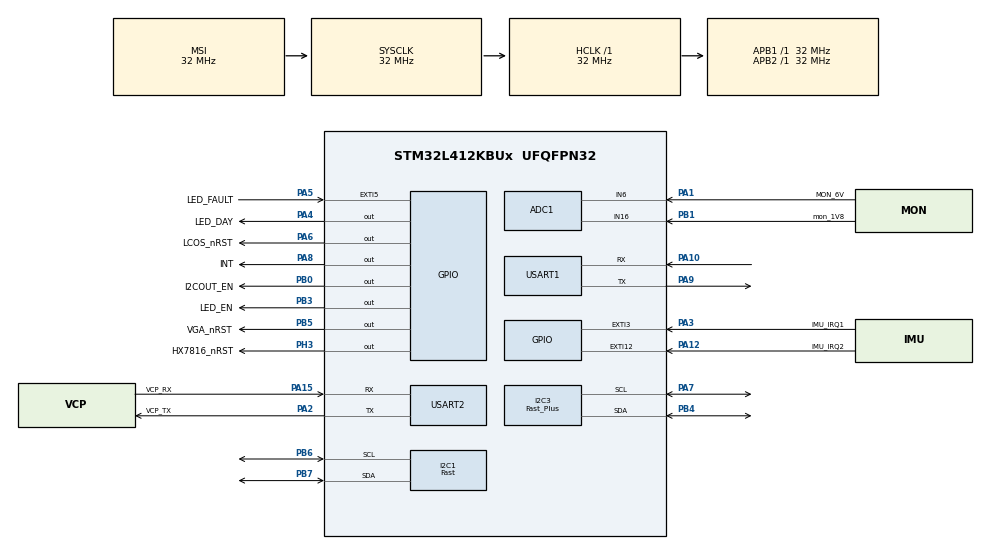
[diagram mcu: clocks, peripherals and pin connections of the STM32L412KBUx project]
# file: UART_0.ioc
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ADC1.AWD1HighThreshold=4000
ADC1.AWD1ITMode=ENABLE
ADC1.AWD1LowThreshold=10
ADC1.Channel-0\#ChannelRegularConversion=ADC_CHANNEL_6
ADC1.Channel-1\#ChannelRegularConversion=ADC_CHANNEL_16
ADC1.Channel-2\#ChannelRegularConversion=ADC_CHANNEL_VREFINT
ADC1.Channel-3\#ChannelRegularConversion=ADC_CHANNEL_TEMPSENSOR
ADC1.ClockPrescaler=ADC_CLOCK_ASYNC_DIV16
ADC1.ContinuousConvMode=ENABLE
ADC1.DMAContinuousRequests=ENABLE
ADC1.EOCSelection=ADC_EOC_SEQ_CONV
ADC1.EnableAnalogWatchDog1=true
ADC1.EnableRegularConversion=ENABLE
ADC1.NbrOfConversion=4
ADC1.NbrOfConversionFlag=1
ADC1.OffsetNumber-0\#ChannelRegularConversion=ADC_OFFSET_NONE
ADC1.OffsetNumber-1\#ChannelRegularConversion=ADC_OFFSET_NONE
ADC1.OffsetNumber-2\#ChannelRegularConversion=ADC_OFFSET_NONE
ADC1.OffsetNumber-3\#ChannelRegularConversion=ADC_OFFSET_NONE
ADC1.Rank-0\#ChannelRegularConversion=1
ADC1.Rank-1\#ChannelRegularConversion=2
ADC1.Rank-2\#ChannelRegularConversion=3
ADC1.Rank-3\#ChannelRegularConversion=4
ADC1.SamplingTime-0\#ChannelRegularConversion=ADC_SAMPLETIME_640CYCLES_5
ADC1.SamplingTime-1\#ChannelRegularConversion=ADC_SAMPLETIME_640CYCLES_5
ADC1.SamplingTime-2\#ChannelRegularConversion=ADC_SAMPLETIME_640CYCLES_5
ADC1.SamplingTime-3\#ChannelRegularConversion=ADC_SAMPLETIME_640CYCLES_5
ADC1.WatchdogChannel=ADC_CHANNEL_TEMPSENSOR
ADC1.master=1
Dma.ADC1.0.Direction=DMA_PERIPH_TO_MEMORY
Dma.ADC1.0.Instance=DMA1_Channel1
Dma.ADC1.0.MemDataAlignment=DMA_MDATAALIGN_HALFWORD
Dma.ADC1.0.MemInc=DMA_MINC_ENABLE
Dma.ADC1.0.Mode=DMA_CIRCULAR
Dma.ADC1.0.PeriphDataAlignment=DMA_PDATAALIGN_HALFWORD
Dma.ADC1.0.PeriphInc=DMA_PINC_DISABLE
Dma.ADC1.0.Priority=DMA_PRIORITY_LOW
Dma.Request0=ADC1
I2C1.I2C_Speed_Mode=I2C_Fast
I2C1.Timing=0x00300F38
I2C3.I2C_Speed_Mode=I2C_Fast_Plus
I2C3.Timing=0x00100413
LPTIM1.ClockPrescaler=LPTIM_PRESCALER_DIV32
Mcu.Family=STM32L4
Mcu.Name=STM32L412KBUx
Mcu.Package=UFQFPN32
NVIC.ADC1_2_IRQn=true\:0\:0\:false\:false\:true\:true\:true
NVIC.DMA1_Channel1_IRQn=true\:0\:0\:false\:false\:true\:false\:true
NVIC.EXTI15_10_IRQn=true\:0\:0\:false\:false\:true\:true\:true
NVIC.EXTI3_IRQn=true\:0\:0\:false\:false\:true\:true\:true
NVIC.I2C1_EV_IRQn=true\:0\:0\:false\:false\:true\:true\:true
NVIC.I2C3_ER_IRQn=true\:0\:0\:false\:false\:true\:true\:true
NVIC.I2C3_EV_IRQn=true\:0\:0\:false\:false\:true\:true\:true
NVIC.LPTIM1_IRQn=true\:0\:0\:false\:false\:true\:true\:true
NVIC.PriorityGroup=NVIC_PRIORITYGROUP_4
NVIC.USART1_IRQn=true\:0\:0\:false\:false\:true\:true\:true
PA0-CK_IN.Mode=HSE-External-Clock-Source-for-LittleOrca
PA0-CK_IN.Signal=RCC_CK_IN
PA1.GPIO_Label=MON_6V
PA1.Signal=ADCx_IN6
PA10.Mode=Asynchronous
PA10.Signal=USART1_RX
PA12.GPIO_Label=IMU_IRQ2
PA12.GPIO_PuPd=GPIO_PULLUP
PA12.Signal=GPXTI12
PA13\ (JTMS/SWDIO).GPIO_Label=SWDIO
PA13\ (JTMS/SWDIO).Mode=Serial_Wire
PA13\ (JTMS/SWDIO).Signal=SYS_JTMS-SWDIO
PA14\ (JTCK/SWCLK).GPIO_Label=SWCLK
PA14\ (JTCK/SWCLK).Mode=Serial_Wire
PA14\ (JTCK/SWCLK).Signal=SYS_JTCK-SWCLK
PA15\ (JTDI).GPIO_Label=VCP_RX
PA15\ (JTDI).Mode=Asynchronous
PA15\ (JTDI).Signal=USART2_RX
PA2.GPIO_Label=VCP_TX
PA2.Mode=Asynchronous
PA2.Signal=USART2_TX
PA3.GPIO_Label=IMU_IRQ1
PA3.GPIO_PuPd=GPIO_PULLDOWN
PA3.Signal=GPXTI3
PA4.GPIO_Label=LED_DAY
PA4.Signal=GPIO_Output
PA5.GPIO_Label=LED_FAULT
PA5.GPIO_ModeDefaultEXTI=GPIO_MODE_IT_RISING
PA5.GPIO_PuPd=GPIO_PULLDOWN
PA5.Signal=GPXTI5
PA6.GPIO_Label=LCOS_nRST
PA6.Signal=GPIO_Output
PA7.Mode=I2C
PA7.Signal=I2C3_SCL
PA8.GPIO_Label=INT
PA8.Signal=GPIO_Output
PA9.Mode=Asynchronous
PA9.Signal=USART1_TX
PB0.GPIO_Label=I2COUT_EN
PB0.Signal=GPIO_Output
PB1.GPIO_Label=mon_1V8
PB1.Signal=ADCx_IN16
PB3\ (JTDO/TRACESWO).GPIO_Label=LED_EN
PB3\ (JTDO/TRACESWO).Signal=GPIO_Output
PB4\ (NJTRST).Mode=I2C
PB4\ (NJTRST).Signal=I2C3_SDA
PB5.GPIO_Label=VGA_nRST
PB5.Signal=GPIO_Output
PB6.Mode=I2C
PB6.Signal=I2C1_SCL
PB7.Mode=I2C
PB7.Signal=I2C1_SDA
PC14-OSC32_IN\ (PC14).Mode=LSE-External-Oscillator
PC14-OSC32_IN\ (PC14).Signal=RCC_OSC32_IN
PC15-OSC32_OUT\ (PC15).Mode=LSE-External-Oscillator
PC15-OSC32_OUT\ (PC15).Signal=RCC_OSC32_OUT
PH3-BOOT0\ (BOOT0).GPIO_Label=HX7816_nRST
PH3-BOOT0\ (BOOT0).Signal=GPIO_Output
ProjectManager.HeapSize=0x200
ProjectManager.StackSize=0x400
ProjectManager.TargetToolchain=STM32CubeIDE
RCC.ADCFreq_Value=32000000
RCC.AHBFreq_Value=32000000
RCC.APB1Freq_Value=32000000
RCC.APB1TimFreq_Value=32000000
RCC.APB2Freq_Value=32000000
RCC.APB2TimFreq_Value=32000000
RCC.CortexFreq_Value=32000000
RCC.FLatency=FLASH_LATENCY_1
RCC.HCLKFreq_Value=32000000
RCC.HSE_VALUE=8000000
RCC.HSI48_VALUE=48000000
RCC.HSICalibrationValue=16
RCC.HSI_VALUE=16000000
RCC.LPTIM1CLockSelection=RCC_LPTIM1CLKSOURCE_LSI
RCC.LSE_Drive_Capability=RCC_LSEDRIVE_LOW
RCC.MSIClockRange=RCC_MSIRANGE_10
RCC.MSI_VALUE=32000000
RCC.SYSCLKFreq_VALUE=32000000
RCC.USBFreq_Value=32000000
RCC.VCOOutputFreq_Value=256000000
SH.ADCx_IN16.0=ADC1_IN16,IN16-Single-Ended
SH.ADCx_IN6.0=ADC1_IN6,IN6-Single-Ended
USART1.VirtualMode-Asynchronous=VM_ASYNC
USART2.VirtualMode-Asynchronous=VM_ASYNC
VP_ADC1_TempSens_Input.Mode=IN-TempSens
VP_ADC1_Vref_Input.Mode=IN-Vrefint
VP_LPTIM1_VS_LPTIM_counterModeInternalClock.Mode=Counts__internal_clock_event_00
board=NUCLEO-L412KB

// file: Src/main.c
/* USER CODE BEGIN Header */
/**
  ******************************************************************************
  * @file           : main.c
  * @brief          : Main program body
  ******************************************************************************
  * @attention
  *
  * <h2><center>&copy; Copyright (c) 2020 STMicroelectronics.
  * All rights reserved.</center></h2>
  *
  * This software component is licensed by ST under BSD 3-Clause license,
  * the "License"; You may not use this file except in compliance with the
  * License. You may obtain a copy of the License at:
  *                        opensource.org/licenses/BSD-3-Clause
  *
  ******************************************************************************
  */
/* USER CODE END Header */

#include "main.h"

/* USER CODE BEGIN Includes */
//#include "usart.h"
#include <string.h>

/* USER CODE END Includes */

ADC_HandleTypeDef hadc1;
DMA_HandleTypeDef hdma_adc1;

I2C_HandleTypeDef hi2c1;
I2C_HandleTypeDef hi2c3;

LPTIM_HandleTypeDef hlptim1;

UART_HandleTypeDef huart1;
UART_HandleTypeDef huart2;

/* USER CODE BEGIN PV */
uint32_t debug_cntr = 0;

const version_t sw_revision = {1,0,2,3};

uint8_t FlashCopyDevInfo[FLASH_DEVICE_INFO_SIZE];
uint8_t FlashCopyConfigStruct[FLASH_CONFIG_SIZE];
uint8_t FlashCopyBrightnessTab0[FLASH_BRIGHTNESS_TAB_SIZE];
uint8_t FlashCopyBrightnessTab1[FLASH_BRIGHTNESS_TAB_SIZE];
uint8_t FlashCopyInitData[FLASH_INIT_DATA_SIZE];

config_t* pConfigStruct;
uint8_t sw_error = HAL_OK;
uint8_t LPTIM1_us_countEn;
BIT_status_t boot_BIT_status = {0};    // boot error status
irq_flg_t  irq_flg = {0};
main_status_t main_status = {0};
power_state_t CurrentPowerMode = PWR_OFF;
power_state_t NextPowerMode;

// ADC variables
uint32_t TemperatureHighThreshold;
uint32_t TemperatureLowThreshold;
uint16_t adc_raw_data[ADC_CONV_NUM];
uint16_t VDDA_mv;
uint16_t mon_6V_mv;
uint16_t mon_1V8_mv;

device_state_t	vga2rgb_state = {0};

extern uart_msg_t uart_msg;
extern uint8_t RdByteReady;
extern led_drv_state_t led_drv_state;
extern uint16_t asic_BasePos_Hor;
extern uint16_t asic_BasePos_Ver;
extern device_state_t lcos_state;
extern device_state_t asic_state;
extern device_state_t	imu_state;
extern uint8_t imu_data[IMU_DATA_LEN];

/* USER CODE END PV */

void SystemClock_Config(void);
static void MX_GPIO_Init(void);
static void MX_DMA_Init(void);
static void MX_USART1_UART_Init(void);
static void MX_USART2_UART_Init(void);
static void MX_I2C1_Init(void);
static void MX_I2C3_Init(void);
static void MX_LPTIM1_Init(void);
static void MX_ADC1_Init(void);
/* USER CODE BEGIN PFP */
//void runScript(uint8_t* BaseAddr, uint16_t recordNum);
static void init_periferial(uint8_t boot);
static void SetPowerMode(uint8_t NewPowerMode);
static void ADC_start(void);
/* USER CODE END PFP */

int main(void)
{

  /* MCU Configuration--------------------------------------------------------*/

  /* Reset of all peripherals, Initializes the Flash interface and the Systick. */
  HAL_Init();

  /* USER CODE BEGIN Init */
  memcpy(FlashCopyDevInfo,(uint8_t*)FLASH_DEVICE_INFO_BASE_ADDR,sizeof(FlashCopyDevInfo));
  memcpy(FlashCopyConfigStruct,(uint8_t*)FLASH_CONFIG_BASE_ADDR,sizeof(FlashCopyConfigStruct));
  memcpy(FlashCopyBrightnessTab0,(uint8_t*)FLASH_BRIGHTNESS_0_BASE_ADDR,sizeof(FlashCopyBrightnessTab0));
  memcpy(FlashCopyBrightnessTab1,(uint8_t*)FLASH_BRIGHTNESS_1_BASE_ADDR,sizeof(FlashCopyBrightnessTab1));
  memcpy(FlashCopyInitData,(uint8_t*)FLASH_INIT_BASE_ADDR,sizeof(FlashCopyInitData));
  pConfigStruct = (config_t*)FlashCopyConfigStruct;
  *(unsigned*)&uart_msg.flag = 0;
  uart_msg.response[0] = 'H';
  uart_msg.response[1] = 'U';
  uart_msg.response[2] = 'M';

  /* USER CODE END Init */

  /* Configure the system clock */
  SystemClock_Config();

  /* Initialize all configured peripherals */
  MX_GPIO_Init();
  MX_DMA_Init();
  MX_USART1_UART_Init();
  MX_USART2_UART_Init();
  MX_I2C1_Init();
  MX_I2C3_Init();
  MX_LPTIM1_Init();
  MX_ADC1_Init();
  /* USER CODE BEGIN 2 */
  SetPowerMode(PWR_OFF);
  SetPowerMode(PWR_ON);
  /* USER CODE END 2 */

  /* Infinite loop */
  /* USER CODE BEGIN WHILE */
  while (1)
  {
#ifdef LPM_EN
	  /*Suspend Tick increment to prevent wakeup by Systick interrupt.
		Otherwise the Systick interrupt will wake up the device within 1ms (HAL time base)*/
	  HAL_SuspendTick();

		/* Enter Sleep Mode , wake up is done once jumper is put between PA.12 (Arduino D2) and GND */
	  HAL_PWR_EnterSLEEPMode(PWR_MAINREGULATOR_ON, PWR_SLEEPENTRY_WFI);

		/* Resume Tick interrupt if disabled prior to SLEEP mode entry */
	  HAL_ResumeTick();
#endif

	  if(RdByteReady){
		  RdByteReady = 0;
		  UART_Rx_Byte();		//receive 1 byte by UART
	  }
	  if(uart_msg.flag.uart_req_ready_flg){
		  uart_msg.flag.uart_req_ready_flg = 0;
		  uartReqHandler();
	  }
	  if(*(uint32_t*)&irq_flg){
		  HAL_GPIO_WritePin(INT_GPIO_Port, INT_Pin, GPIO_PIN_SET);
	  }

	  if (main_status.led_drv_fault){

	  }
	  if(main_status.pwrModeChange_req){
		  main_status.pwrModeChange_req = 0;
		  SetPowerMode(NextPowerMode);
	  }
	  if( main_status.ADC_dataReady == 1){
		  ADC_Calc();
		  main_status.ADC_dataReady = 0;
		  if(debug_cntr++>1000){
			  printf("mon_1V8_mv = %d\n\r ",mon_1V8_mv);
			  debug_cntr = 0;
		  }
	  }
  }
    /* USER CODE END WHILE */

}

void SystemClock_Config(void)
{
  RCC_OscInitTypeDef RCC_OscInitStruct = {0};
  RCC_ClkInitTypeDef RCC_ClkInitStruct = {0};
  RCC_PeriphCLKInitTypeDef PeriphClkInit = {0};

  /** Configure LSE Drive Capability
  */
  HAL_PWR_EnableBkUpAccess();
  __HAL_RCC_LSEDRIVE_CONFIG(RCC_LSEDRIVE_LOW);
  /** Configure the main internal regulator output voltage
  */
  if (HAL_PWREx_ControlVoltageScaling(PWR_REGULATOR_VOLTAGE_SCALE1) != HAL_OK)
  {
    Error_Handler();
  }
  /** Initializes the CPU, AHB and APB busses clocks
  */
  RCC_OscInitStruct.OscillatorType = RCC_OSCILLATORTYPE_LSI|RCC_OSCILLATORTYPE_LSE
                              |RCC_OSCILLATORTYPE_MSI;
  RCC_OscInitStruct.LSEState = RCC_LSE_ON;
  RCC_OscInitStruct.LSIState = RCC_LSI_ON;
  RCC_OscInitStruct.MSIState = RCC_MSI_ON;
  RCC_OscInitStruct.MSICalibrationValue = 0;
  RCC_OscInitStruct.MSIClockRange = RCC_MSIRANGE_10;
  RCC_OscInitStruct.PLL.PLLState = RCC_PLL_NONE;
  if (HAL_RCC_OscConfig(&RCC_OscInitStruct) != HAL_OK)
  {
    Error_Handler();
  }
  /** Initializes the CPU, AHB and APB busses clocks
  */
  RCC_ClkInitStruct.ClockType = RCC_CLOCKTYPE_HCLK|RCC_CLOCKTYPE_SYSCLK
                              |RCC_CLOCKTYPE_PCLK1|RCC_CLOCKTYPE_PCLK2;
  RCC_ClkInitStruct.SYSCLKSource = RCC_SYSCLKSOURCE_MSI;
  RCC_ClkInitStruct.AHBCLKDivider = RCC_SYSCLK_DIV1;
  RCC_ClkInitStruct.APB1CLKDivider = RCC_HCLK_DIV1;
  RCC_ClkInitStruct.APB2CLKDivider = RCC_HCLK_DIV1;

  if (HAL_RCC_ClockConfig(&RCC_ClkInitStruct, FLASH_LATENCY_1) != HAL_OK)
  {
    Error_Handler();
  }
  PeriphClkInit.PeriphClockSelection = RCC_PERIPHCLK_USART1|RCC_PERIPHCLK_USART2
                              |RCC_PERIPHCLK_LPTIM1|RCC_PERIPHCLK_I2C1
                              |RCC_PERIPHCLK_I2C3|RCC_PERIPHCLK_ADC;
  PeriphClkInit.Usart1ClockSelection = RCC_USART1CLKSOURCE_PCLK2;
  PeriphClkInit.Usart2ClockSelection = RCC_USART2CLKSOURCE_PCLK1;
  PeriphClkInit.I2c1ClockSelection = RCC_I2C1CLKSOURCE_PCLK1;
  PeriphClkInit.I2c3ClockSelection = RCC_I2C3CLKSOURCE_PCLK1;
  PeriphClkInit.Lptim1ClockSelection = RCC_LPTIM1CLKSOURCE_LSI;
  if (HAL_RCCEx_PeriphCLKConfig(&PeriphClkInit) != HAL_OK)
  {
    Error_Handler();
  }
  /** Enable MSI Auto calibration
  */
  HAL_RCCEx_EnableMSIPLLMode();
}

static void MX_ADC1_Init(void)
{

  ADC_MultiModeTypeDef multimode = {0};
  ADC_AnalogWDGConfTypeDef AnalogWDGConfig = {0};
  ADC_ChannelConfTypeDef sConfig = {0};

  /** Common config
  */
  hadc1.Instance = ADC1;
  hadc1.Init.ClockPrescaler = ADC_CLOCK_ASYNC_DIV16;
  hadc1.Init.Resolution = ADC_RESOLUTION_12B;
  hadc1.Init.DataAlign = ADC_DATAALIGN_RIGHT;
  hadc1.Init.ScanConvMode = ADC_SCAN_ENABLE;
  hadc1.Init.EOCSelection = ADC_EOC_SEQ_CONV;
  hadc1.Init.LowPowerAutoWait = DISABLE;
  hadc1.Init.ContinuousConvMode = ENABLE;
  hadc1.Init.NbrOfConversion = 4;
  hadc1.Init.DiscontinuousConvMode = DISABLE;
  hadc1.Init.NbrOfDiscConversion = 1;
  hadc1.Init.ExternalTrigConv = ADC_SOFTWARE_START;
  hadc1.Init.ExternalTrigConvEdge = ADC_EXTERNALTRIGCONVEDGE_NONE;
  hadc1.Init.DMAContinuousRequests = ENABLE;
  hadc1.Init.Overrun = ADC_OVR_DATA_PRESERVED;
  hadc1.Init.OversamplingMode = DISABLE;
  if (HAL_ADC_Init(&hadc1) != HAL_OK)
  {
    Error_Handler();
  }
  /** Configure the ADC multi-mode
  */
  multimode.Mode = ADC_MODE_INDEPENDENT;
  if (HAL_ADCEx_MultiModeConfigChannel(&hadc1, &multimode) != HAL_OK)
  {
    Error_Handler();
  }
  /** Configure Analog WatchDog 1
  */
  AnalogWDGConfig.WatchdogNumber = ADC_ANALOGWATCHDOG_1;
  AnalogWDGConfig.WatchdogMode = ADC_ANALOGWATCHDOG_SINGLE_REG;
  AnalogWDGConfig.Channel = ADC_CHANNEL_TEMPSENSOR;
  AnalogWDGConfig.ITMode = ENABLE;
  AnalogWDGConfig.HighThreshold = 4000;
  AnalogWDGConfig.LowThreshold = 10;
  if (HAL_ADC_AnalogWDGConfig(&hadc1, &AnalogWDGConfig) != HAL_OK)
  {
    Error_Handler();
  }
  /** Configure Regular Channel
  */
  sConfig.Channel = ADC_CHANNEL_6;
  sConfig.Rank = ADC_REGULAR_RANK_1;
  sConfig.SamplingTime = ADC_SAMPLETIME_640CYCLES_5;
  sConfig.SingleDiff = ADC_SINGLE_ENDED;
  sConfig.OffsetNumber = ADC_OFFSET_NONE;
  sConfig.Offset = 0;
  if (HAL_ADC_ConfigChannel(&hadc1, &sConfig) != HAL_OK)
  {
    Error_Handler();
  }
  /** Configure Regular Channel
  */
  sConfig.Channel = ADC_CHANNEL_16;
  sConfig.Rank = ADC_REGULAR_RANK_2;
  if (HAL_ADC_ConfigChannel(&hadc1, &sConfig) != HAL_OK)
  {
    Error_Handler();
  }
  /** Configure Regular Channel
  */
  sConfig.Channel = ADC_CHANNEL_VREFINT;
  sConfig.Rank = ADC_REGULAR_RANK_3;
  if (HAL_ADC_ConfigChannel(&hadc1, &sConfig) != HAL_OK)
  {
    Error_Handler();
  }
  /** Configure Regular Channel
  */
  sConfig.Channel = ADC_CHANNEL_TEMPSENSOR;
  sConfig.Rank = ADC_REGULAR_RANK_4;
  if (HAL_ADC_ConfigChannel(&hadc1, &sConfig) != HAL_OK)
  {
    Error_Handler();
  }

}

static void MX_I2C1_Init(void)
{

  hi2c1.Instance = I2C1;
  hi2c1.Init.Timing = 0x00300F38;
  hi2c1.Init.OwnAddress1 = 0;
  hi2c1.Init.AddressingMode = I2C_ADDRESSINGMODE_7BIT;
  hi2c1.Init.DualAddressMode = I2C_DUALADDRESS_DISABLE;
  hi2c1.Init.OwnAddress2 = 0;
  hi2c1.Init.OwnAddress2Masks = I2C_OA2_NOMASK;
  hi2c1.Init.GeneralCallMode = I2C_GENERALCALL_DISABLE;
  hi2c1.Init.NoStretchMode = I2C_NOSTRETCH_DISABLE;
  if (HAL_I2C_Init(&hi2c1) != HAL_OK)
  {
    Error_Handler();
  }
  /** Configure Analogue filter
  */
  if (HAL_I2CEx_ConfigAnalogFilter(&hi2c1, I2C_ANALOGFILTER_ENABLE) != HAL_OK)
  {
    Error_Handler();
  }
  /** Configure Digital filter
  */
  if (HAL_I2CEx_ConfigDigitalFilter(&hi2c1, 0) != HAL_OK)
  {
    Error_Handler();
  }

}

static void MX_I2C3_Init(void)
{

  hi2c3.Instance = I2C3;
  hi2c3.Init.Timing = 0x00100413;
  hi2c3.Init.OwnAddress1 = 0;
  hi2c3.Init.AddressingMode = I2C_ADDRESSINGMODE_7BIT;
  hi2c3.Init.DualAddressMode = I2C_DUALADDRESS_DISABLE;
  hi2c3.Init.OwnAddress2 = 0;
  hi2c3.Init.OwnAddress2Masks = I2C_OA2_NOMASK;
  hi2c3.Init.GeneralCallMode = I2C_GENERALCALL_DISABLE;
  hi2c3.Init.NoStretchMode = I2C_NOSTRETCH_DISABLE;
  if (HAL_I2C_Init(&hi2c3) != HAL_OK)
  {
    Error_Handler();
  }
  /** Configure Analogue filter
  */
  if (HAL_I2CEx_ConfigAnalogFilter(&hi2c3, I2C_ANALOGFILTER_ENABLE) != HAL_OK)
  {
    Error_Handler();
  }
  /** Configure Digital filter
  */
  if (HAL_I2CEx_ConfigDigitalFilter(&hi2c3, 0) != HAL_OK)
  {
    Error_Handler();
  }
  /** I2C Fast mode Plus enable
  */
  HAL_I2CEx_EnableFastModePlus(I2C_FASTMODEPLUS_I2C3);

}

static void MX_LPTIM1_Init(void)
{

  hlptim1.Instance = LPTIM1;
  hlptim1.Init.Clock.Source = LPTIM_CLOCKSOURCE_APBCLOCK_LPOSC;
  hlptim1.Init.Clock.Prescaler = LPTIM_PRESCALER_DIV32;
  hlptim1.Init.Trigger.Source = LPTIM_TRIGSOURCE_SOFTWARE;
  hlptim1.Init.OutputPolarity = LPTIM_OUTPUTPOLARITY_HIGH;
  hlptim1.Init.UpdateMode = LPTIM_UPDATE_IMMEDIATE;
  hlptim1.Init.CounterSource = LPTIM_COUNTERSOURCE_INTERNAL;
  hlptim1.Init.Input1Source = LPTIM_INPUT1SOURCE_GPIO;
  hlptim1.Init.Input2Source = LPTIM_INPUT2SOURCE_GPIO;
  hlptim1.Init.RepetitionCounter = 0;
  if (HAL_LPTIM_Init(&hlptim1) != HAL_OK)
  {
    Error_Handler();
  }

}

static void MX_USART1_UART_Init(void)
{

  huart1.Instance = USART1;
  huart1.Init.BaudRate = 115200;
  huart1.Init.WordLength = UART_WORDLENGTH_8B;
  huart1.Init.StopBits = UART_STOPBITS_1;
  huart1.Init.Parity = UART_PARITY_NONE;
  huart1.Init.Mode = UART_MODE_TX_RX;
  huart1.Init.HwFlowCtl = UART_HWCONTROL_NONE;
  huart1.Init.OverSampling = UART_OVERSAMPLING_16;
  huart1.Init.OneBitSampling = UART_ONE_BIT_SAMPLE_DISABLE;
  huart1.AdvancedInit.AdvFeatureInit = UART_ADVFEATURE_NO_INIT;
  if (HAL_UART_Init(&huart1) != HAL_OK)
  {
    Error_Handler();
  }

}

static void MX_USART2_UART_Init(void)
{

  huart2.Instance = USART2;
  huart2.Init.BaudRate = 115200;
  huart2.Init.WordLength = UART_WORDLENGTH_8B;
  huart2.Init.StopBits = UART_STOPBITS_1;
  huart2.Init.Parity = UART_PARITY_NONE;
  huart2.Init.Mode = UART_MODE_TX_RX;
  huart2.Init.HwFlowCtl = UART_HWCONTROL_NONE;
  huart2.Init.OverSampling = UART_OVERSAMPLING_16;
  huart2.Init.OneBitSampling = UART_ONE_BIT_SAMPLE_DISABLE;
  huart2.AdvancedInit.AdvFeatureInit = UART_ADVFEATURE_NO_INIT;
  if (HAL_UART_Init(&huart2) != HAL_OK)
  {
    Error_Handler();
  }

}

static void MX_DMA_Init(void)
{

  /* DMA controller clock enable */
  __HAL_RCC_DMA1_CLK_ENABLE();

  /* DMA interrupt init */
  /* DMA1_Channel1_IRQn interrupt configuration */
  HAL_NVIC_SetPriority(DMA1_Channel1_IRQn, 0, 0);
  HAL_NVIC_EnableIRQ(DMA1_Channel1_IRQn);

}

static void MX_GPIO_Init(void)
{
  GPIO_InitTypeDef GPIO_InitStruct = {0};

  /* GPIO Ports Clock Enable */
  __HAL_RCC_GPIOC_CLK_ENABLE();
  __HAL_RCC_GPIOA_CLK_ENABLE();
  __HAL_RCC_GPIOB_CLK_ENABLE();
  __HAL_RCC_GPIOH_CLK_ENABLE();

  /*Configure GPIO pin Output Level */
  HAL_GPIO_WritePin(GPIOA, LED_DAY_Pin|LCOS_nRST_Pin|INT_Pin, GPIO_PIN_RESET);

  /*Configure GPIO pin Output Level */
  HAL_GPIO_WritePin(GPIOB, I2COUT_EN_Pin|LED_EN_Pin|VGA_nRST_Pin, GPIO_PIN_RESET);

  /*Configure GPIO pin Output Level */
  HAL_GPIO_WritePin(HX7816_nRST_GPIO_Port, HX7816_nRST_Pin, GPIO_PIN_RESET);

  /*Configure GPIO pins : IMU_IRQ1_Pin LED_FAULT_Pin */
  GPIO_InitStruct.Pin = IMU_IRQ1_Pin|LED_FAULT_Pin;
  GPIO_InitStruct.Mode = GPIO_MODE_IT_RISING;
  GPIO_InitStruct.Pull = GPIO_PULLDOWN;
  HAL_GPIO_Init(GPIOA, &GPIO_InitStruct);

  /*Configure GPIO pins : LED_DAY_Pin LCOS_nRST_Pin INT_Pin */
  GPIO_InitStruct.Pin = LED_DAY_Pin|LCOS_nRST_Pin|INT_Pin;
  GPIO_InitStruct.Mode = GPIO_MODE_OUTPUT_PP;
  GPIO_InitStruct.Pull = GPIO_NOPULL;
  GPIO_InitStruct.Speed = GPIO_SPEED_FREQ_LOW;
  HAL_GPIO_Init(GPIOA, &GPIO_InitStruct);

  /*Configure GPIO pins : I2COUT_EN_Pin LED_EN_Pin VGA_nRST_Pin */
  GPIO_InitStruct.Pin = I2COUT_EN_Pin|LED_EN_Pin|VGA_nRST_Pin;
  GPIO_InitStruct.Mode = GPIO_MODE_OUTPUT_PP;
  GPIO_InitStruct.Pull = GPIO_NOPULL;
  GPIO_InitStruct.Speed = GPIO_SPEED_FREQ_LOW;
  HAL_GPIO_Init(GPIOB, &GPIO_InitStruct);

  /*Configure GPIO pin : IMU_IRQ2_Pin */
  GPIO_InitStruct.Pin = IMU_IRQ2_Pin;
  GPIO_InitStruct.Mode = GPIO_MODE_IT_RISING;
  GPIO_InitStruct.Pull = GPIO_PULLUP;
  HAL_GPIO_Init(IMU_IRQ2_GPIO_Port, &GPIO_InitStruct);

  /*Configure GPIO pin : HX7816_nRST_Pin */
  GPIO_InitStruct.Pin = HX7816_nRST_Pin;
  GPIO_InitStruct.Mode = GPIO_MODE_OUTPUT_PP;
  GPIO_InitStruct.Pull = GPIO_NOPULL;
  GPIO_InitStruct.Speed = GPIO_SPEED_FREQ_LOW;
  HAL_GPIO_Init(HX7816_nRST_GPIO_Port, &GPIO_InitStruct);

  /* EXTI interrupt init*/
  HAL_NVIC_SetPriority(EXTI3_IRQn, 0, 0);
  HAL_NVIC_EnableIRQ(EXTI3_IRQn);

  HAL_NVIC_SetPriority(EXTI15_10_IRQn, 0, 0);
  HAL_NVIC_EnableIRQ(EXTI15_10_IRQn);

}

/* USER CODE BEGIN 4 */

static void init_periferial(uint8_t boot)
{
	uint32_t card_id = *(uint32_t*)FlashCopyDevInfo;
	uint8_t* pDevBaseAddr;
	uint8_t i = 0;
	flash_header_record_t flash_header_record[5];
	memcpy((uint8_t*)flash_header_record,FlashCopyInitData,5*sizeof(flash_header_record_t));
	*(uint32_t*)&boot_BIT_status = BIT_STATUS_MASK;
	if((card_id == CARD_ID_0)||(card_id == CARD_ID_1)){ 			// check card_ID
		if((pConfigStruct->temperature_min <-40)	||
			(pConfigStruct->temperature_max>125)	||
			(pConfigStruct->brightnessTabNo>1)		||
			(pConfigStruct->flipScreenHor>1)		||
			(pConfigStruct->flipScreenVer>1)		||
			(pConfigStruct->screenOffsetHor<-50)	||
			(pConfigStruct->screenOffsetHor>50)		||
			(pConfigStruct->screenOffsetVer<-30)	||
			(pConfigStruct->screenOffsetVer>30)		||
			(pConfigStruct->bootBrightness>0x03FF)	||
			(pConfigStruct->brightness>0x03FF)){
			boot_BIT_status.FlashConfigTabError = 1;
			return;
		}
		boot_BIT_status.FlashConfigTabError = 0;
		if(boot){
			pDevBaseAddr = (uint8_t*)(FlashCopyInitData+flash_header_record[i++].offset);
		}else{
			pDevBaseAddr = (uint8_t*)(FlashCopyInitData+flash_header_record[4].offset);
			i++;
		}
		runScript(pDevBaseAddr,flash_header_record[i++].cmd_num); //init HX7816_BOOT
		if(sw_error==HAL_OK){
			asic_SetPattern(ASIC_PATTERN_GRAY_SCASLE,0);
			if(sw_error==HAL_OK){
				asic_GetScreenPos(&asic_BasePos_Hor, &asic_BasePos_Ver);
				asic_ScreenOffset_Hor();
				asic_ScreenOffset_Ver();
				boot_BIT_status.ASIC_init_status = DEV_INITIALISED;
			}
		}else{
			boot_BIT_status.ASIC_init_status = DEV_INITIALISATIN_ERROR;
			asic_state.init_error = 1;
			irq_flg.irq_ASIC = 1;
			Error_Handler();
		}
		pDevBaseAddr = (uint8_t*)(FlashCopyInitData+flash_header_record[i++].offset);
		runScript(pDevBaseAddr,flash_header_record[i++].cmd_num); //init LCOS HX7318
		if(sw_error==HAL_OK){
			lcos_flip();
			if(lcos_state.i2c_error){
				irq_flg.irq_LCOS = 1;
			}else{
				boot_BIT_status.LCOS_init_status = DEV_INITIALISED;
//				lcos_GetScreenPos(&asic_BasePoz_Hor, &asic_BasePoz_Ver);
			}

		}else{
			boot_BIT_status.LCOS_init_status = DEV_INITIALISATIN_ERROR;
			lcos_state.init_error = 1;
			irq_flg.irq_LCOS = 1;
			Error_Handler();
		}
		pDevBaseAddr = (uint8_t*)(FlashCopyInitData+flash_header_record[i++].offset);
		runScript(pDevBaseAddr,flash_header_record[i++].cmd_num); //init TVP70025
		if(sw_error==HAL_OK){
			boot_BIT_status.VGA2RGB_init_status = DEV_INITIALISED;
		}else{
			boot_BIT_status.VGA2RGB_init_status = DEV_INITIALISATIN_ERROR;
			vga2rgb_state.init_error = 1;
			irq_flg.irq_VGA2RGB = 1;
			Error_Handler();
		}
		pDevBaseAddr = (uint8_t*)(FlashCopyInitData+flash_header_record[i++].offset);
		runScript(pDevBaseAddr,flash_header_record[i++].cmd_num); //init IMU
		if(sw_error==HAL_OK){
			boot_BIT_status.IMU_init_status = DEV_INITIALISED;
		}else{
			boot_BIT_status.IMU_init_status = DEV_INITIALISATIN_ERROR;
			imu_state.init_error = 1;
			irq_flg.irq_IMU = 1;

			Error_Handler();
		}
		setBrightnesas();
		if(sw_error==HAL_OK){
			boot_BIT_status.LED_DRIVER_init_status = DEV_INITIALISED;
		}else{
			boot_BIT_status.LED_DRIVER_init_status = DEV_INITIALISATIN_ERROR;
			Error_Handler();
		}
	//	  adc_set_watchdog_high_threshold();
	  /* Run the ADC calibration in single-ended mode */
//	  if (HAL_ADCEx_Calibration_Start(&hadc1, ADC_SINGLE_ENDED) != HAL_OK)
//	  {
//		/* Calibration Error */
//		Error_Handler();
//	  }

	  /*## Start ADC conversions #################################################*/

	  /* Start ADC conversion on regular group with transfer by DMA */
//	  if (HAL_ADC_Start_DMA(&hadc1, adc_convert_data,ADC_CONVERTED_DATA_BUFFER_SIZE) != HAL_OK)
//	  {
//		Error_Handler();
//	  }
	}else{ //if((card_id == CARD_ID_0)||(card_id == CARD_ID_1))
		boot_BIT_status.DeviceID_error = 1;
		sw_error = FLASH_NOT_INITIALISED;
		Error_Handler();
	}
	irq_flg.irq_InitFinish = 1;
}
void runScript(uint8_t* pData, uint16_t recordNum){
	uint32_t period = 0;
	uint8_t i2c_addr;
	I2C_HandleTypeDef* pi2c_bus;
	uint16_t i;
	uint8_t command;
	uint8_t cmdData[2];
	sw_error=HAL_OK;
	for(i=0;i<recordNum;i++){
		command = *pData++;
		cmdData[0] = *pData++;
		cmdData[1] = *pData++;
		switch(command){
		case FLASH_CMD_DEVICE_DESTINATION:
			if(cmdData[0]==0){
				pi2c_bus = &hi2c1;//use I2C0
			}else if(cmdData[0]){
				pi2c_bus = &hi2c3;//use I2C3
			}else{
				sw_error = PARAM_ERROR;
				return;
			}
			i2c_addr = cmdData[1]<<1;
			break;
		case FLASH_CMD_I2C_WRITE_8x8:
			sw_error = HAL_I2C_Master_Transmit(pi2c_bus, i2c_addr, cmdData, sizeof(cmdData), I2C_TX_TIMEOUT);
			break;
		case FLASH_CMD_DELAY_MS:
			HAL_Delay(cmdData[0]);
			break;
		case FLASH_CMD_DELAY_US:
			period = cmdData[0];
			period += cmdData[1]<<8;
			LPTIM1_us_countEn = 1;
			sw_error = HAL_LPTIM_Counter_Start_IT(&hlptim1,period);
			if(sw_error==HAL_OK){
				while (LPTIM1_us_countEn);
			}
			break;
		default:
			sw_error = PARAM_ERROR;
			return ;
		}//switch(command)
		if(sw_error!=HAL_OK){
			return ;
		}
	}//for(i=0;i<recordNum;i++)

}

void HAL_ADC_ConvCpltCallback(ADC_HandleTypeDef* hadc){
	  UNUSED(hadc);
//	  main_status.ADC_dataReady = 1;
}

static void SetPowerMode(uint8_t NewPowerMode) {
	switch(NewPowerMode){
	case PWR_OFF:
		CurrentPowerMode = NewPowerMode;
		HAL_GPIO_WritePin(LED_EN_GPIO_Port, LED_EN_Pin, GPIO_PIN_RESET);
		HAL_GPIO_WritePin(LCOS_nRST_GPIO_Port, LCOS_nRST_Pin, GPIO_PIN_RESET);
		HAL_GPIO_WritePin(VGA_nRST_GPIO_Port, VGA_nRST_Pin, GPIO_PIN_RESET);
		HAL_GPIO_WritePin(VGA_nRST_GPIO_Port, HX7816_nRST_Pin, GPIO_PIN_RESET);
		IMU_PowerOff();
		HAL_ADC_Stop_DMA(&hadc1);
// IMU power off - ??
		break;
	case PWR_ON:
		if(CurrentPowerMode != PWR_ON){
			CurrentPowerMode = PWR_ON;
//			HAL_GPIO_WritePin(LED_EN_GPIO_Port, LED_EN_Pin, GPIO_PIN_SET);
			HAL_GPIO_WritePin(LCOS_nRST_GPIO_Port, LCOS_nRST_Pin, GPIO_PIN_SET);
			HAL_GPIO_WritePin(VGA_nRST_GPIO_Port, VGA_nRST_Pin, GPIO_PIN_SET);
			HAL_GPIO_WritePin(VGA_nRST_GPIO_Port, HX7816_nRST_Pin, GPIO_PIN_SET);
			HAL_Delay(1);
			init_periferial(1);
			ADC_start();
		}
		break;
	case PWR_OPERATION:
		if((CurrentPowerMode == PWR_OFF)||(CurrentPowerMode == PWR_IMU)){
			// init PWR_ON mode
			CurrentPowerMode = PWR_ON;
			HAL_GPIO_WritePin(LCOS_nRST_GPIO_Port, LCOS_nRST_Pin, GPIO_PIN_SET);
			HAL_GPIO_WritePin(VGA_nRST_GPIO_Port, VGA_nRST_Pin, GPIO_PIN_SET);
			HAL_GPIO_WritePin(VGA_nRST_GPIO_Port, HX7816_nRST_Pin, GPIO_PIN_SET);
			HAL_Delay(1);
			init_periferial(0);
		}
		if(CurrentPowerMode == PWR_ON){
			CurrentPowerMode = PWR_OPERATION;
			asic_SetPattern(ASIC_PATTERN_GRAY_SCASLE,0);
			setBrightnesas();
			if(sw_error != HAL_OK){
				led_drv_state.i2c_status = 1;
				irq_flg.irq_LED_DRIVER = 1;
			}
		}
		break;
	case PWR_IMU:
		CurrentPowerMode = NewPowerMode;
		HAL_GPIO_WritePin(LED_EN_GPIO_Port, LED_EN_Pin, GPIO_PIN_RESET);
		HAL_GPIO_WritePin(LCOS_nRST_GPIO_Port, LCOS_nRST_Pin, GPIO_PIN_RESET);
		HAL_GPIO_WritePin(VGA_nRST_GPIO_Port, VGA_nRST_Pin, GPIO_PIN_RESET);
		HAL_GPIO_WritePin(VGA_nRST_GPIO_Port, HX7816_nRST_Pin, GPIO_PIN_RESET);

		break;
	default:

		break;
	}
}
void ADC_UpdateThresholds(void){
	uint32_t delta_CAL_TEMP = (int32_t)(TEMPSENSOR_CAL2_TEMP - TEMPSENSOR_CAL1_TEMP);
	uint32_t ts_delta_cal = (int32_t)((int32_t)*TEMPSENSOR_CAL2_ADDR - (int32_t)*TEMPSENSOR_CAL1_ADDR);

	if(adc_raw_data[RAW_ADC_VDDA_OFFSET]!= 0){
		VDDA_mv =  __HAL_ADC_CALC_VREFANALOG_VOLTAGE(adc_raw_data[RAW_ADC_VDDA_OFFSET],ADC_RESOLUTION_12B);
	}else{
		VDDA_mv = VDDA;
	}

	TemperatureLowThreshold =  ((pConfigStruct->temperature_min - TEMPSENSOR_CAL1_TEMP)*ts_delta_cal/delta_CAL_TEMP + (int32_t) *TEMPSENSOR_CAL1_ADDR)*TEMPSENSOR_CAL_VREFANALOG / VDDA_mv;
	TemperatureHighThreshold =  ((pConfigStruct->temperature_max - TEMPSENSOR_CAL1_TEMP)*ts_delta_cal/delta_CAL_TEMP + (int32_t) *TEMPSENSOR_CAL1_ADDR)*TEMPSENSOR_CAL_VREFANALOG / VDDA_mv;

	/** Configure Analog WatchDog 1
	*/

//	HAL_ADC_Stop(&hadc1);
//	LL_ADC_ConfigAnalogWDThresholds	(ADC1, LL_ADC_AWD1,	TemperatureHighThreshold,TemperatureLowThreshold);
//	HAL_ADC_Start(&hadc1);

//	AnalogWDGConfig.WatchdogNumber = ADC_ANALOGWATCHDOG_1;
//	AnalogWDGConfig.WatchdogMode = ADC_ANALOGWATCHDOG_SINGLE_REG;
//	AnalogWDGConfig.Channel = ADC_CHANNEL_TEMPSENSOR;
//	AnalogWDGConfig.ITMode = DISABLE;
//	AnalogWDGConfig.HighThreshold = HighThreshold;
//	AnalogWDGConfig.LowThreshold = LowThreshold;
//	if (HAL_ADC_AnalogWDGConfig(&hadc1, &AnalogWDGConfig) != HAL_OK)
//	{
//		Error_Handler();
//	}
//	else{
//		HAL_ADC_Start(&hadc1);
//	}

}

void HAL_ADC_LevelOutOfWindowCallback(ADC_HandleTypeDef* hadc)
{
  /* Set variable to report analog watchdog out of window status to main      */
  /* program.                                                                 */
	irq_flg.irq_TEMP = SET;
}
void ADC_Calc(void){

	if(adc_raw_data[RAW_ADC_VDDA_OFFSET]!= 0){
		VDDA_mv =  __HAL_ADC_CALC_VREFANALOG_VOLTAGE(adc_raw_data[RAW_ADC_VDDA_OFFSET],ADC_RESOLUTION_12B);
	}else{
		VDDA_mv = VDDA;
	}
	mon_6V_mv = __HAL_ADC_CALC_DATA_TO_VOLTAGE(VDDA_mv,adc_raw_data[RAW_ADC_6V_OFFSET],ADC_RESOLUTION_12B);
	mon_1V8_mv = __HAL_ADC_CALC_DATA_TO_VOLTAGE(VDDA_mv,adc_raw_data[RAW_ADC_1V8_OFFSET],ADC_RESOLUTION_12B);

	if( (VDDA_mv < ADC_3V3_MIN) 	||
		(VDDA_mv > ADC_3V3_MAX) 	||
		(mon_6V_mv   < ADC_6V_MIN) 	||
		(mon_6V_mv   > ADC_6V_MAX) 	||
		(mon_1V8_mv  < ADC_1V8_MIN) ||
		(mon_1V8_mv > ADC_1V8_MAX)){
		irq_flg.irq_POWER = 1;
	}

//	temperature = (float)__HAL_ADC_CALC_TEMPERATURE(VDDA_mv,adc_raw_data[RAW_ADC_TEMP_OFFSET],ADC_RESOLUTION_12B);
//	if( (adc_raw_data[RAW_ADC_VDDA_OFFSET] > ADC_3V3_MIN) 	||
//		(adc_raw_data[RAW_ADC_VDDA_OFFSET] < ADC_3V3_MAX) 	||
//		(adc_raw_data[RAW_ADC_6V_OFFSET]   < ADC_6V_MIN) 	||
//		(adc_raw_data[RAW_ADC_6V_OFFSET]   > ADC_6V_MAX) 	||
//		(adc_raw_data[RAW_ADC_1V8_OFFSET]  < ADC_1V8_MIN) 	||
//		(adc_raw_data[RAW_ADC_1V8_OFFSET]  > ADC_1V8_MAX)){
//		irq_flg.irq_POWER = 1;
//	}
	if((adc_raw_data[RAW_ADC_TEMP_OFFSET]>TemperatureHighThreshold)||
			(adc_raw_data[RAW_ADC_TEMP_OFFSET]<TemperatureLowThreshold)){
		irq_flg.irq_TEMP = 1;
	}

#if 0
	uint32_t raw_vdda_min;
	uint32_t raw_vdda_max;
	raw_vdda_min = ((uint32_t)(*VREFINT_CAL_ADDR) * VREFINT_CAL_VREF)/3000;
	raw_vdda_max = ((uint32_t)(*VREFINT_CAL_ADDR) * VREFINT_CAL_VREF)/3600;

#endif

}
static void ADC_start(void){
#define VDDA_RAW_AVERAGE_CNT		10
	uint32_t i;
	float VDDA_aver = 0;
	uint32_t ts_delta_cal = (int32_t)((int32_t)*TEMPSENSOR_CAL2_ADDR - (int32_t)*TEMPSENSOR_CAL1_ADDR);
	uint32_t delta_CAL_TEMP = (int32_t)(TEMPSENSOR_CAL2_TEMP - TEMPSENSOR_CAL1_TEMP);

	if(HAL_ADCEx_Calibration_Start(&hadc1, ADC_SINGLE_ENDED) != HAL_OK){
		boot_BIT_status.ADC_Error = 1;
		Error_Handler();
	}
	HAL_Delay(1);
	if (HAL_ADC_Start_DMA(&hadc1, (uint32_t*)adc_raw_data,4) != HAL_OK){
		boot_BIT_status.ADC_Error = 1;
		Error_Handler();
	}

	main_status.ADC_dataReady = 0;
	while(main_status.ADC_dataReady == 0){};

	for(i=0; i<VDDA_RAW_AVERAGE_CNT; i++){
		main_status.ADC_dataReady = 0;
		while(main_status.ADC_dataReady == 0){};
		VDDA_aver += adc_raw_data[RAW_ADC_VDDA_OFFSET];
		__NOP();
	}
	VDDA_aver /= i;
	VDDA_aver += 0.5;
	VDDA_mv =  __HAL_ADC_CALC_VREFANALOG_VOLTAGE((uint32_t)VDDA_aver,ADC_RESOLUTION_12B);
	TemperatureLowThreshold =  ((pConfigStruct->temperature_min - TEMPSENSOR_CAL1_TEMP)*ts_delta_cal/delta_CAL_TEMP + (int32_t) *TEMPSENSOR_CAL1_ADDR)*TEMPSENSOR_CAL_VREFANALOG / VDDA_mv;
	TemperatureHighThreshold =  ((pConfigStruct->temperature_max - TEMPSENSOR_CAL1_TEMP)*ts_delta_cal/delta_CAL_TEMP + (int32_t) *TEMPSENSOR_CAL1_ADDR)*TEMPSENSOR_CAL_VREFANALOG / VDDA_mv;
//	HAL_ADC_Stop(&hadc1);
//	LL_ADC_ConfigAnalogWDThresholds	(ADC1, LL_ADC_AWD1,	HighThreshold,LowThreshold); // after this command ADC work incorrectly
//	HAL_ADC_Start(&hadc1);

	//check voltage
	mon_6V_mv = __HAL_ADC_CALC_DATA_TO_VOLTAGE(VDDA_mv,adc_raw_data[RAW_ADC_6V_OFFSET],ADC_RESOLUTION_12B);
	mon_1V8_mv = __HAL_ADC_CALC_DATA_TO_VOLTAGE(VDDA_mv,adc_raw_data[RAW_ADC_1V8_OFFSET],ADC_RESOLUTION_12B);
	boot_BIT_status.Voltage_err = 0;
	if( (VDDA_mv < ADC_3V3_MIN) 	||
		(VDDA_mv > ADC_3V3_MAX) 	||
		(mon_6V_mv   < ADC_6V_MIN) 	||
		(mon_6V_mv   > ADC_6V_MAX) 	||
		(mon_1V8_mv  < ADC_1V8_MIN) ||
		(mon_1V8_mv > ADC_1V8_MAX)){
		boot_BIT_status.Voltage_err = 1;
	}
	boot_BIT_status.Temp_err = 0;
	if((adc_raw_data[RAW_ADC_TEMP_OFFSET]>TemperatureHighThreshold)||
			(adc_raw_data[RAW_ADC_TEMP_OFFSET]<TemperatureLowThreshold)){
		boot_BIT_status.Temp_err = 1;
	}
}
/*
 * Implement write code, this is used by puts and printf.
 */
int _write(int file, char* ptr, int len){
	int i = 0;
	for(i = 0; i<len; i++){
		ITM_SendChar((*ptr++));
	}
	return len;
}
/* USER CODE END 4 */

void Error_Handler(void)
{
}

/************************ (C) COPYRIGHT STMicroelectronics *****END OF FILE****/
